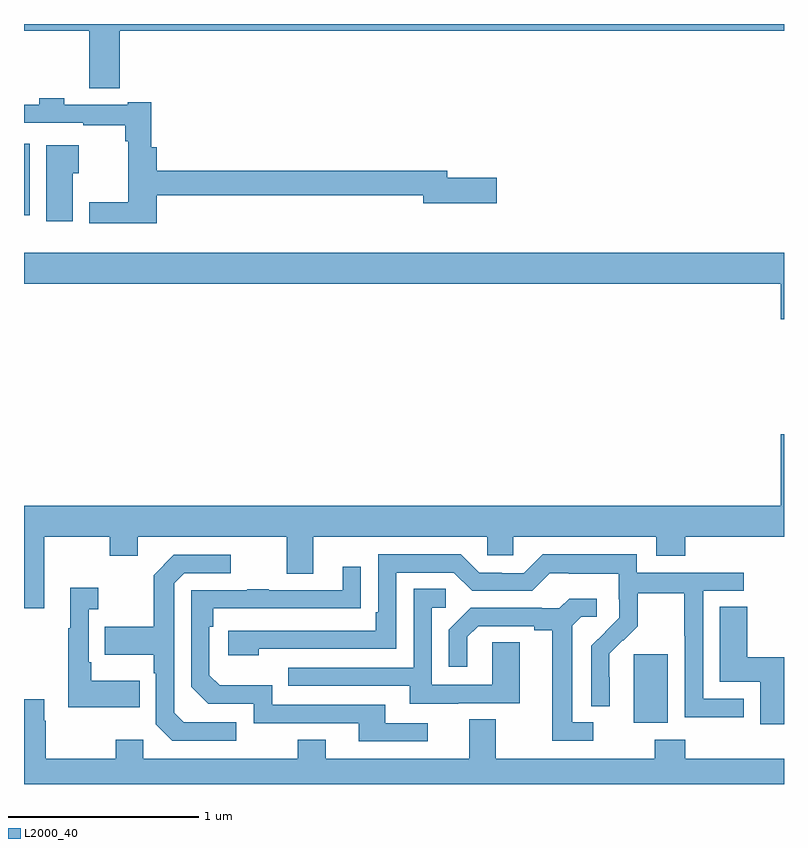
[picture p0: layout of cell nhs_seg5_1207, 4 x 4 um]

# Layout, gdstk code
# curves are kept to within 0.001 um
import gdstk
lib = gdstk.Library(unit=1e-6, precision=1e-09)
def R(c, l, rs):  # rectangles x0, y0, x1, y1
    for r in rs: c.add(gdstk.rectangle(r[:2], r[2:], *l))
def P(c, l, *ps):  # polygons
    for p in ps: c.add(gdstk.Polygon(p, *l))
L2000_40 = (2000, 40)

nhs_seg5_1207 = lib.new_cell('nhs_seg5_1207')
R(nhs_seg5_1207, L2000_40, [(188.21,849.122,188.389,849.483), (185,851.793,185.029,852.169)])
P(nhs_seg5_1207, L2000_40, [(185.504,852.764),(189,852.764),(189,852.799),(185,852.799),(185,852.764),(185.344,852.764),(185.344,852.46),(185.504,852.46)],
  [(185.699,851.898),(187.1,851.898),(187.1,851.855),(187.489,851.855),(187.489,851.99),(187.228,851.99),(187.228,852.026),(185.699,852.026),(185.699,852.151),(185.669,852.151),(185.669,852.388),(185.546,852.388),(185.546,852.375),(185.211,852.375),(185.211,852.408),(185.079,852.408),(185.079,852.375),(185,852.375),(185,852.279),(185.311,852.279),(185.311,852.267),(185.533,852.267),(185.533,852.182),(185.548,852.182),(185.548,851.86),(185.343,851.86),(185.343,851.75),(185.699,851.75)],
  [(185.257,852.013),(185.287,852.013),(185.287,852.16),(185.117,852.16),(185.117,851.76),(185.257,851.76)],
  [(189,851.596),(185,851.596),(185,851.432),(188.984,851.432),(188.984,851.244),(189,851.244)],
  [(185.107,850.1),(185.452,850.1),(185.452,850.001),(185.599,850.001),(185.599,850.1),(186.383,850.1),(186.383,849.906),(186.523,849.906),(186.523,850.1),(187.437,850.1),(187.437,850.002),(187.575,850.002),(187.575,850.1),(188.327,850.1),(188.327,850.001),(188.48,850.001),(188.48,850.1),(189,850.1),(189,850.639),(188.984,850.639),(188.984,850.264),(185,850.264),(185,849.723),(185.107,849.723)],
  [(188.788,849.249),(188.574,849.249),(188.574,849.816),(188.788,849.816),(188.788,849.912),(188.226,849.912),(188.226,850.009),(187.729,850.009),(187.629,849.909),(187.514,849.909),(187.514,849.912),(187.395,849.912),(187.299,850.008),(186.864,850.008),(186.864,849.703),(186.851,849.703),(186.851,849.606),(186.075,849.606),(186.075,849.476),(186.236,849.476),(186.236,849.51),(186.96,849.51),(186.96,849.912),(187.263,849.912),(187.359,849.816),(187.674,849.816),(187.767,849.909),(187.867,849.909),(187.867,849.905),(188.13,849.905),(188.13,849.771),(188.132,849.771),(188.132,849.674),(187.986,849.526),(187.986,849.208),(188.082,849.208),(188.081,849.485),(188.151,849.555),(188.154,849.552),(188.231,849.629),(188.231,849.804),(188.476,849.804),(188.476,849.58),(188.478,849.58),(188.478,849.151),(188.788,849.151)],
  [(186.118,849.123),(185.841,849.123),(185.79,849.174),(185.79,849.855),(185.844,849.909),(186.088,849.909),(186.088,850.005),(185.787,850.005),(185.682,849.899),(185.682,849.627),(185.425,849.627),(185.425,849.479),(185.682,849.479),(185.682,849.383),(185.694,849.383),(185.694,849.114),(185.781,849.027),(186.118,849.027)],
  [(187.126,849.12),(186.901,849.12),(186.901,849.216),(186.306,849.216),(186.306,849.319),(186.029,849.319),(185.976,849.372),(185.976,849.626),(185.996,849.626),(185.996,849.723),(186.773,849.724),(186.773,849.943),(186.677,849.943),(186.677,849.819),(186.287,849.819),(186.287,849.824),(186.175,849.824),(186.175,849.819),(185.88,849.819),(185.88,849.312),(185.97,849.222),(186.21,849.222),(186.21,849.12),(186.761,849.12),(186.761,849.024),(187.126,849.024)],
  [(185.609,849.343),(185.353,849.343),(185.353,849.439),(185.34,849.439),(185.34,849.719),(185.392,849.719),(185.392,849.832),(185.243,849.832),(185.243,849.619),(185.232,849.619),(185.232,849.203),(185.609,849.203)],
  [(187.285,849.225),(187.609,849.225),(187.609,849.545),(187.464,849.545),(187.464,849.321),(187.146,849.321),(187.146,849.726),(187.219,849.726),(187.219,849.827),(187.05,849.827),(187.05,849.411),(186.391,849.411),(186.391,849.315),(187.031,849.315),(187.031,849.221),(187.285,849.221)],
  [(187.996,849.123),(187.885,849.123),(187.885,849.631),(187.932,849.678),(188.014,849.678),(188.014,849.775),(187.87,849.775),(187.818,849.723),(187.724,849.723),(187.724,849.726),(187.352,849.726),(187.236,849.61),(187.236,849.417),(187.333,849.417),(187.333,849.573),(187.39,849.63),(187.685,849.63),(187.685,849.608),(187.781,849.608),(187.781,849.027),(187.996,849.027)],
  [(189,849.466),(188.807,849.466),(188.807,849.731),(188.663,849.731),(188.663,849.338),(188.876,849.338),(188.876,849.114),(189,849.114)],
  [(189,848.932),(188.48,848.932),(188.48,849.031),(188.32,849.031),(188.32,848.932),(187.483,848.932),(187.483,849.14),(187.343,849.14),(187.343,848.932),(186.589,848.932),(186.589,849.031),(186.442,849.031),(186.442,848.932),(185.628,848.932),(185.628,849.031),(185.482,849.031),(185.482,848.932),(185.115,848.932),(185.115,849.131),(185.107,849.131),(185.107,849.244),(185,849.244),(185,848.799),(189,848.799)])

lib.write_gds('nhs_seg5_1207.gds')
